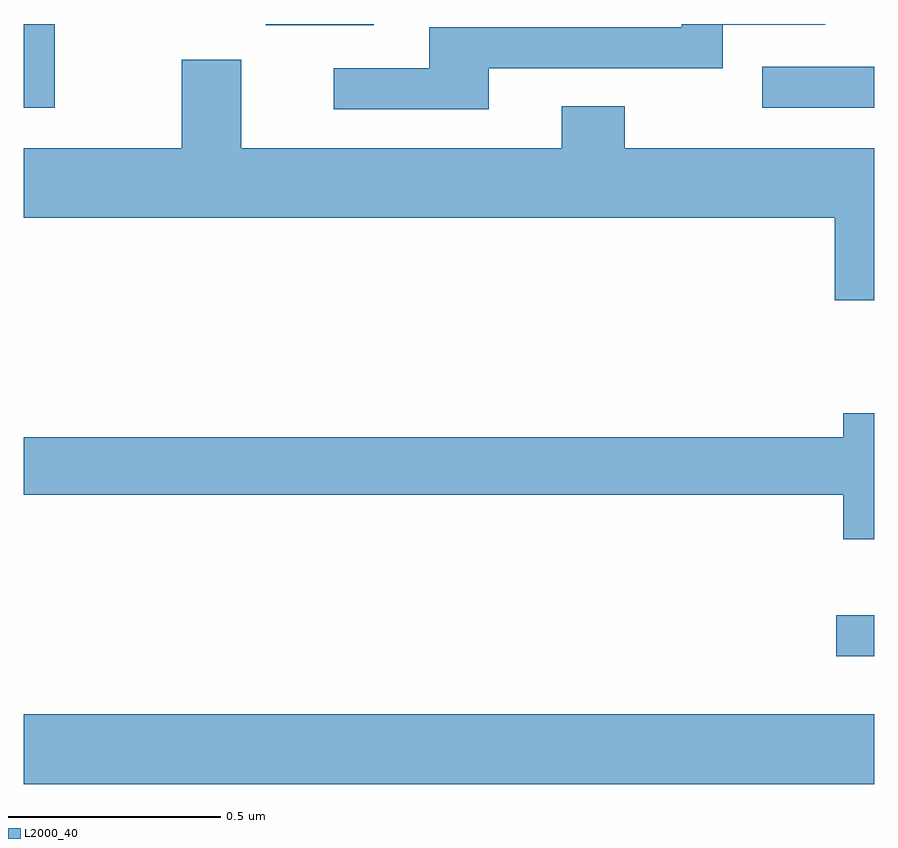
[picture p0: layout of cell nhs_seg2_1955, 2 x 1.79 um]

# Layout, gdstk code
import gdstk
lib = gdstk.Library(unit=1e-6, precision=1e-09)
def R(c, l, rs):  # rectangles x0, y0, x1, y1
    for r in rs: c.add(gdstk.rectangle(r[:2], r[2:], *l))
def P(c, l, *ps):  # polygons
    for p in ps: c.add(gdstk.Polygon(p, *l))
L2000_40 = (2000, 40)

nhs_seg2_1955 = lib.new_cell('nhs_seg2_1955')
R(nhs_seg2_1955, L2000_40, [(135,605.012,137,605.176), (136.911,605.312,137,605.409), (135,606.603,135.073,606.8), (136.737,606.603,137,606.699), (135.569,606.797,135.823,606.8)])
P(nhs_seg2_1955, L2000_40, [(136.093,606.696),(136.644,606.696),(136.644,606.798),(136.884,606.798),(136.886,606.8),(136.548,606.8),(136.548,606.792),(135.953,606.792),(135.953,606.696),(135.729,606.696),(135.729,606.6),(136.093,606.6)],
  [(137,606.508),(136.413,606.508),(136.413,606.607),(136.265,606.607),(136.265,606.508),(135.511,606.508),(135.511,606.716),(135.371,606.716),(135.371,606.508),(135,606.508),(135,606.344),(136.907,606.344),(136.907,606.15),(137,606.15)],
  [(137,605.884),(136.928,605.884),(136.928,605.828),(135,605.828),(135,605.692),(136.928,605.692),(136.928,605.588),(137,605.588)])

lib.write_gds('nhs_seg2_1955.gds')
